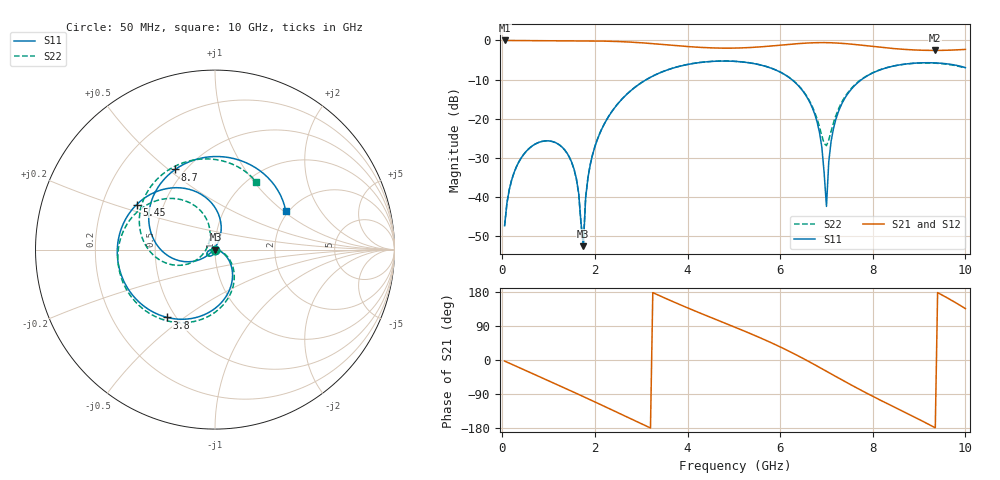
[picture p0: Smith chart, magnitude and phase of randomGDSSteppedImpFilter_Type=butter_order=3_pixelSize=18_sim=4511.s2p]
! freq	dB(S11)	phase(S11)	dB(S12)	phase(S12)
!  dB(S21)	phase(S21)	dB(S22)	phase(S22)
!S-par simulation data
#  GHz  S  DB  R 50
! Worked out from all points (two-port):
!   200 points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, 50 MHz to 10 GHz, reference 50 ohm
!   highest |S21| = -0.01 dB at 50 MHz (marker M1); lowest = -2.6 dB at 9.35 GHz (marker M2)
!   |S21| within 3 dB of the highest: start of sweep to end of sweep
!   lowest |S11| = -52.6 dB at 1.75 GHz (marker M3), VSWR 1.00, Z = 50.2 + j0.0105 ohm
!   |S11| at or under -10 dB: start of sweep to 3.113 GHz; 6.251 GHz to 7.761 GHz (1.51 GHz wide, 21.6 % of centre)
!   |S22| runs from -52.1 to -5.3 dB; largest |S21 - S12| = 0
!   S11 on the Smith chart (normalised r, x): 50 MHz: 1.00, -0.01; 3.8 GHz: 0.45, -0.43; 5.45 GHz: 0.35, +0.24; 8.7 GHz: 0.44, +0.53; 10 GHz: 1.93, +1.04
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0.05  -47.39 -87.8  -0.01 -2.8  -0.01 -2.8  -47.39 -87.8
0.15  -38.20 -96.6  -0.02 -8.3  -0.02 -8.3  -38.20 -96.4
0.4  -30.20 -112.2  -0.04 -22.0  -0.04 -22.0  -30.20 -111.7
1.1  -25.91 -152.1  -0.08 -60.4  -0.08 -60.4  -25.92 -150.6
1.55  -32.95 -178.0  -0.10 -85.3  -0.10 -85.3  -33.00 -175.8
1.75  -52.62 2.6  -0.11 -96.5  -0.11 -96.5  -52.11 2.9
1.85  -35.10 -12.8  -0.12 -102.1  -0.12 -102.1  -35.02 -10.5
2.1  -23.93 -28.2  -0.16 -116.3  -0.16 -116.3  -23.90 -25.3
2.75  -13.10 -66.4  -0.42 -153.8  -0.42 -153.8  -13.08 -62.4
3.4  -8.30 -103.6  -0.97 169.5  -0.97 169.5  -8.28 -98.3
3.8  -6.69 -125.3  -1.37 148.0  -1.37 148.0  -6.68 -119.2
5.05  -5.37 171.0  -1.95 85.2  -1.95 85.2  -5.36 -179.2
5.45  -5.96 150.1  -1.75 64.8  -1.75 64.8  -5.94 161.7
6.7  -17.38 75.3  -0.60 -9.4  -0.60 -9.4  -17.05 104.0
6.9  -27.30 66.6  -0.56 -22.9  -0.56 -22.9  -24.36 120.2
7  -42.45 172.8  -0.57 -29.7  -0.57 -29.7  -26.90 163.8
7.1  -25.82 -142.1  -0.60 -36.5  -0.60 -36.5  -23.21 -160.8
7.3  -17.01 -152.1  -0.72 -50.2  -0.72 -50.2  -16.50 -150.9
8.35  -6.82 138.7  -1.97 -117.4  -1.97 -117.4  -6.80 157.2
8.7  -6.04 116.4  -2.30 -138.5  -2.30 -138.5  -6.06 138.0
9.35  -5.74 74.2  -2.55 -178.9  -2.55 -178.9  -5.82 100.9
10  -6.95 28.8  -2.30 135.6  -2.30 135.6  -7.09 58.8
